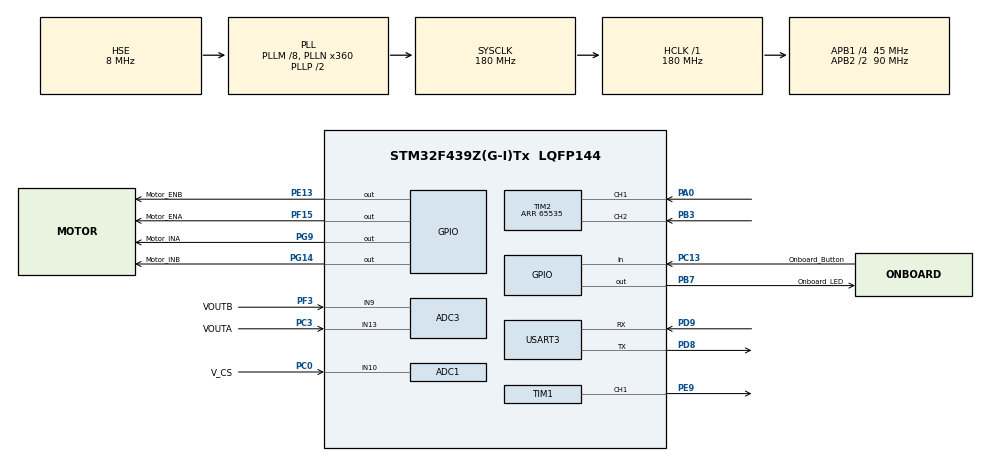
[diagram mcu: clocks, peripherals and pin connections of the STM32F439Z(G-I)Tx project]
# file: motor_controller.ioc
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ADC1.Channel-2\#ChannelRegularConversion=ADC_CHANNEL_10
ADC1.ContinuousConvMode=ENABLE
ADC1.DMAContinuousRequests=ENABLE
ADC1.ExternalTrigConv=ADC_EXTERNALTRIGCONV_T3_TRGO
ADC1.NbrOfConversion=1
ADC1.NbrOfConversionFlag=1
ADC1.Rank-2\#ChannelRegularConversion=1
ADC1.SamplingTime-2\#ChannelRegularConversion=ADC_SAMPLETIME_84CYCLES
ADC1.ScanConvMode=ENABLE
ADC1.master=1
ADC3.Channel-0\#ChannelRegularConversion=ADC_CHANNEL_13
ADC3.Channel-1\#ChannelRegularConversion=ADC_CHANNEL_9
ADC3.ContinuousConvMode=ENABLE
ADC3.DMAContinuousRequests=ENABLE
ADC3.ExternalTrigConv=ADC_EXTERNALTRIGCONV_T3_TRGO
ADC3.NbrOfConversion=2
ADC3.NbrOfConversionFlag=1
ADC3.Rank-0\#ChannelRegularConversion=1
ADC3.Rank-1\#ChannelRegularConversion=2
ADC3.SamplingTime-0\#ChannelRegularConversion=ADC_SAMPLETIME_84CYCLES
ADC3.SamplingTime-1\#ChannelRegularConversion=ADC_SAMPLETIME_84CYCLES
ADC3.ScanConvMode=ENABLE
Dma.ADC1.0.Direction=DMA_PERIPH_TO_MEMORY
Dma.ADC1.0.FIFOMode=DMA_FIFOMODE_DISABLE
Dma.ADC1.0.Instance=DMA2_Stream0
Dma.ADC1.0.MemDataAlignment=DMA_MDATAALIGN_WORD
Dma.ADC1.0.MemInc=DMA_MINC_ENABLE
Dma.ADC1.0.Mode=DMA_CIRCULAR
Dma.ADC1.0.PeriphDataAlignment=DMA_PDATAALIGN_WORD
Dma.ADC1.0.PeriphInc=DMA_PINC_DISABLE
Dma.ADC1.0.Priority=DMA_PRIORITY_LOW
Dma.ADC3.1.Direction=DMA_PERIPH_TO_MEMORY
Dma.ADC3.1.FIFOMode=DMA_FIFOMODE_DISABLE
Dma.ADC3.1.Instance=DMA2_Stream1
Dma.ADC3.1.MemDataAlignment=DMA_MDATAALIGN_WORD
Dma.ADC3.1.MemInc=DMA_MINC_ENABLE
Dma.ADC3.1.Mode=DMA_CIRCULAR
Dma.ADC3.1.PeriphDataAlignment=DMA_PDATAALIGN_WORD
Dma.ADC3.1.PeriphInc=DMA_PINC_DISABLE
Dma.ADC3.1.Priority=DMA_PRIORITY_LOW
Dma.Request0=ADC1
Dma.Request1=ADC3
Mcu.Family=STM32F4
Mcu.Name=STM32F439Z(G-I)Tx
Mcu.Package=LQFP144
NVIC.DMA2_Stream0_IRQn=true\:1\:0\:true\:false\:true\:false\:true\:true
NVIC.DMA2_Stream1_IRQn=true\:0\:0\:false\:false\:true\:false\:true\:true
NVIC.PriorityGroup=NVIC_PRIORITYGROUP_4
NVIC.TIM3_IRQn=true\:0\:0\:false\:false\:true\:true\:true\:true
PA0/WKUP.Signal=S_TIM2_CH1_ETR
PB3.Signal=S_TIM2_CH2
PB7.GPIO_Label=Onboard_LED
PB7.Signal=GPIO_Output
PC0.GPIO_Label=V_CS
PC0.Signal=ADCx_IN10
PC13.GPIO_Label=Onboard_Button
PC13.GPIO_PuPd=GPIO_NOPULL
PC13.Signal=GPIO_Input
PC3.GPIO_Label=VOUTA
PC3.Signal=ADCx_IN13
PD8.Mode=Asynchronous
PD8.Signal=USART3_TX
PD9.Mode=Asynchronous
PD9.Signal=USART3_RX
PE13.GPIO_Label=Motor_ENB
PE13.GPIO_ModeDefaultOutputPP=GPIO_MODE_OUTPUT_OD
PE13.GPIO_PuPd=GPIO_NOPULL
PE13.Signal=GPIO_Output
PE9.Signal=S_TIM1_CH1
PF15.GPIO_Label=Motor_ENA
PF15.GPIO_ModeDefaultOutputPP=GPIO_MODE_OUTPUT_OD
PF15.GPIO_PuPd=GPIO_NOPULL
PF15.Signal=GPIO_Output
PF3.GPIO_Label=VOUTB
PF3.Mode=IN9
PF3.Signal=ADC3_IN9
PG14.GPIO_Label=Motor_INB
PG14.Signal=GPIO_Output
PG9.GPIO_Label=Motor_INA
PG9.Signal=GPIO_Output
PH0/OSC_IN.Mode=HSE-External-Oscillator
PH0/OSC_IN.Signal=RCC_OSC_IN
PH1/OSC_OUT.Mode=HSE-External-Oscillator
PH1/OSC_OUT.Signal=RCC_OSC_OUT
ProjectManager.HeapSize=0x200
ProjectManager.StackSize=0x400
ProjectManager.TargetToolchain=CMake
RCC.48MHZClocksFreq_Value=90000000
RCC.AHBFreq_Value=180000000
RCC.APB1CLKDivider=RCC_HCLK_DIV4
RCC.APB1Freq_Value=45000000
RCC.APB1TimFreq_Value=90000000
RCC.APB2CLKDivider=RCC_HCLK_DIV2
RCC.APB2Freq_Value=90000000
RCC.APB2TimFreq_Value=180000000
RCC.CortexFreq_Value=180000000
RCC.HCLKFreq_Value=180000000
RCC.HSE_VALUE=8000000
RCC.HSI_VALUE=16000000
RCC.LSE_VALUE=32768
RCC.PLLM=8
RCC.PLLN=360
RCC.PLLSourceVirtual=RCC_PLLSOURCE_HSE
RCC.SYSCLKFreq_VALUE=180000000
RCC.SYSCLKSource=RCC_SYSCLKSOURCE_PLLCLK
RCC.VCOOutputFreq_Value=360000000
SH.ADCx_IN10.0=ADC1_IN10,IN10
SH.ADCx_IN13.0=ADC3_IN13,IN13
SH.S_TIM1_CH1.0=TIM1_CH1,PWM Generation1 CH1
SH.S_TIM2_CH1_ETR.0=TIM2_CH1,Encoder_Interface
SH.S_TIM2_CH2.0=TIM2_CH2,Encoder_Interface
TIM1.Channel-PWM\ Generation1\ CH1=TIM_CHANNEL_1
TIM1.Period=999
TIM1.Prescaler=8
TIM2.EncoderMode=TIM_ENCODERMODE_TI12
TIM2.Period=65535
TIM3.Period=49
TIM3.Prescaler=179
TIM3.TIM_MasterOutputTrigger=TIM_TRGO_UPDATE
USART3.VirtualMode=VM_ASYNC
VP_TIM3_VS_ClockSourceINT.Mode=Internal
board=custom

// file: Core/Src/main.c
/* USER CODE BEGIN Header */
/**
 ******************************************************************************
 * @file           : main.c
 * @brief          : Main program body
 ******************************************************************************
 * @attention
 *
 * Copyright (c) 2025 STMicroelectronics.
 * All rights reserved.
 *
 * This software is licensed under terms that can be found in the LICENSE file
 * in the root directory of this software component.
 * If no LICENSE file comes with this software, it is provided AS-IS.
 *
 ******************************************************************************
 */
/* USER CODE END Header */
#include "main.h"

/* USER CODE BEGIN Includes */
#include <stdbool.h>
#include <stdint.h>
#include <stdio.h>
#include <string.h>
#include <math.h>
#include "controller.h"
/* USER CODE END Includes */

/* USER CODE BEGIN PTD */

#define ADC1_CHANNELS 1
#define ADC3_CHANNELS 2
#define SAMPLE_COUNT 5000 // How many samples to collect

typedef struct
{
    uint32_t sample_idx;  // Sample index into logger arrays
    uint32_t loop_count;  // How many times we've actually sampled at 10 kHz
    uint16_t sample_rate; // loop_counts per sample_idx
    uint16_t pwm_duty[SAMPLE_COUNT];
    int32_t v_motor_mv[SAMPLE_COUNT];
    uint16_t i_motor_ma[SAMPLE_COUNT];
    int32_t pos_mdeg[SAMPLE_COUNT];
} log_data_t;

typedef union
{
    uint32_t buffer[ADC1_CHANNELS];
    struct
    {
        uint32_t cs_raw;
    } channels;
} adc1_data_t;

typedef union
{
    uint32_t buffer[ADC3_CHANNELS];
    struct
    {
        uint32_t vout_a_raw;
        uint32_t vout_b_raw;
    } channels;
} adc3_data_t;

typedef struct
{
    int32_t cur_count;  // Current encoder position count
    int32_t prev_count; // Temporary value used to calculate updates
    float pos_deg;      // Integrated position [deg]
} enc_data_t;

/* USER CODE END PTD */

/* USER CODE BEGIN PD */

#define VCC 3.3f // Logic voltage

#define PWM_COUNT 1000
#define ENC_COUNT 65536

#define ADC_TO_VOLTS (VCC / 4095.0f)           // Convert ADC counts to voltage
#define CS_V_PER_AMP (0.14f)                   // VNH5019 spec: 0.14 V/A
#define CS_SCALE (ADC_TO_VOLTS / CS_V_PER_AMP) // ADC counts to amperage

#define ENC_CPR        48      // Counts per motor revolution (datasheet)
#define GEAR_RATIO     46.8512f      // 47:1 gearbox
#define RAD_PER_COUNT  (2.0f * M_PI / (ENC_CPR * GEAR_RATIO))
#define RAD_TO_DEG     (180.0f / M_PI)
#define DEG_PER_COUNT  (360.0f / (ENC_CPR * GEAR_RATIO))  // DEBUG: Shouldn't need this

#define VOUT_R1 (47.0f) // First leg of voltage divider
#define VOUT_R2 (15.0f) // Second leg of voltage divider
#define VOUT_SCALE (ADC_TO_VOLTS * (VOUT_R1 + VOUT_R2) / VOUT_R2)

/* USER CODE END PD */

ADC_HandleTypeDef hadc1;
ADC_HandleTypeDef hadc3;
DMA_HandleTypeDef hdma_adc1;
DMA_HandleTypeDef hdma_adc3;

TIM_HandleTypeDef htim1;
TIM_HandleTypeDef htim2;
TIM_HandleTypeDef htim3;

UART_HandleTypeDef huart3;

/* USER CODE BEGIN PV */
volatile bool sample_flag = false;
volatile adc1_data_t adc1_data;
volatile adc3_data_t adc3_data;

uint16_t pwm_duty = 0;
enc_data_t enc_data = {ENC_COUNT / 2, ENC_COUNT / 2, 0.0f};

// Data structures for controller
controller_arg_t ctrl_arg;  // Inputs
controller_res_t ctrl_res;  // Outputs
controller_work_t ctrl_work; // Workspace

// Data collection
log_data_t log_data = {0};

// Profiling
uint32_t loop_cycles = 0;

/* USER CODE END PV */

void SystemClock_Config(void);
static void MX_GPIO_Init(void);
static void MX_DMA_Init(void);
static void MX_ADC1_Init(void);
static void MX_TIM3_Init(void);
static void MX_USART3_UART_Init(void);
static void MX_TIM1_Init(void);
static void MX_TIM2_Init(void);
static void MX_ADC3_Init(void);

int main(void)
{

  /* MCU Configuration--------------------------------------------------------*/

  /* Reset of all peripherals, Initializes the Flash interface and the Systick. */
  HAL_Init();

  /* Configure the system clock */
  SystemClock_Config();

  /* Initialize all configured peripherals */
  MX_GPIO_Init();
  MX_DMA_Init();
  MX_ADC1_Init();
  MX_TIM3_Init();
  MX_USART3_UART_Init();
  MX_TIM1_Init();
  MX_TIM2_Init();
  MX_ADC3_Init();
  /* USER CODE BEGIN 2 */

    // Enable DWT cycle counter for profiling
    CoreDebug->DEMCR |= CoreDebug_DEMCR_TRCENA_Msk;
    DWT->CYCCNT = 0;                     // Reset counter
    DWT->CTRL |= DWT_CTRL_CYCCNTENA_Msk; // Enable counter

    // Set up controller data structures
    controller_init(&ctrl_arg, &ctrl_res, &ctrl_work);

    // Start PWM output
    if (HAL_TIM_PWM_Start(&htim1, TIM_CHANNEL_1) != HAL_OK)
        Error_Handler();

    // Start ADC with DMA in circular mode
    if (HAL_ADC_Start_DMA(&hadc1, (uint32_t *)adc1_data.buffer, ADC1_CHANNELS) != HAL_OK)
        Error_Handler();
    if (HAL_ADC_Start_DMA(&hadc3, (uint32_t *)adc3_data.buffer, ADC3_CHANNELS) != HAL_OK)
        Error_Handler();

    // Enable motor driver
    HAL_GPIO_WritePin(Motor_ENA_GPIO_Port, Motor_ENA_Pin, GPIO_PIN_SET); // ENA/DIAGA = HIGH (enable)
    HAL_GPIO_WritePin(Motor_ENB_GPIO_Port, Motor_ENB_Pin, GPIO_PIN_SET); // ENB/DIAGB = HIGH (enable)

    // Start encoder timer
    if (HAL_TIM_Encoder_Start(&htim2, TIM_CHANNEL_ALL) != HAL_OK)
        Error_Handler();

    // Reset encoder counter to middle value
    __HAL_TIM_SET_COUNTER(&htim2, enc_data.cur_count);

    // Start control timer
    if (HAL_TIM_Base_Start_IT(&htim3) != HAL_OK)
        Error_Handler();

  /* USER CODE END 2 */

  /* Infinite loop */
  /* USER CODE BEGIN WHILE */

    HAL_GPIO_WritePin(Onboard_LED_GPIO_Port, Onboard_LED_Pin, GPIO_PIN_SET);
    HAL_Delay(1000); // Wait 1 sec for everything to come online
    HAL_GPIO_WritePin(Onboard_LED_GPIO_Port, Onboard_LED_Pin, GPIO_PIN_RESET);

    // Wait for the USER button to be pressed
    while (1)
    {
        if (HAL_GPIO_ReadPin(Onboard_Button_GPIO_Port, Onboard_Button_Pin))
            break; // Continue on to main control loop
        HAL_Delay(1);
    }
    // Turn on blue LED to indicate start of test
    HAL_GPIO_WritePin(Onboard_LED_GPIO_Port, Onboard_LED_Pin, GPIO_PIN_SET);

    // Reset indices
    log_data.sample_idx = 0;
    log_data.sample_rate = 1;
    log_data.loop_count = 0;
    sample_flag = false;
    pwm_duty = 0;
    motor_set();

    while (1)
    {
        if (log_data.sample_idx >= SAMPLE_COUNT)
            break;
    /* USER CODE END WHILE */

    /* USER CODE BEGIN 3 */

        // Pulse train test sequence
        ctrl_arg.pos_ref = (log_data.sample_idx < SAMPLE_COUNT / 2) ? 1.0 : 0.0;

        if (sample_flag)
        {
            uint32_t start_cycles = DWT->CYCCNT; // Start cycle counter
            sample_callback();

            uint32_t end_cycles = DWT->CYCCNT;          // End cycle counter
            loop_cycles += (end_cycles - start_cycles); // Count cycles
        }
    }

    pwm_duty = 0; // Turn OFF motor
    motor_set();
    send_data();
    HAL_GPIO_WritePin(Onboard_LED_GPIO_Port, Onboard_LED_Pin, GPIO_PIN_RESET);

    return 0;

  /* USER CODE END 3 */
}

void SystemClock_Config(void)
{
  RCC_OscInitTypeDef RCC_OscInitStruct = {0};
  RCC_ClkInitTypeDef RCC_ClkInitStruct = {0};

  /** Configure the main internal regulator output voltage
  */
  __HAL_RCC_PWR_CLK_ENABLE();
  __HAL_PWR_VOLTAGESCALING_CONFIG(PWR_REGULATOR_VOLTAGE_SCALE1);

  /** Initializes the RCC Oscillators according to the specified parameters
  * in the RCC_OscInitTypeDef structure.
  */
  RCC_OscInitStruct.OscillatorType = RCC_OSCILLATORTYPE_HSE;
  RCC_OscInitStruct.HSEState = RCC_HSE_ON;
  RCC_OscInitStruct.PLL.PLLState = RCC_PLL_ON;
  RCC_OscInitStruct.PLL.PLLSource = RCC_PLLSOURCE_HSE;
  RCC_OscInitStruct.PLL.PLLM = 8;
  RCC_OscInitStruct.PLL.PLLN = 360;
  RCC_OscInitStruct.PLL.PLLP = RCC_PLLP_DIV2;
  RCC_OscInitStruct.PLL.PLLQ = 4;
  if (HAL_RCC_OscConfig(&RCC_OscInitStruct) != HAL_OK)
  {
    Error_Handler();
  }

  /** Activate the Over-Drive mode
  */
  if (HAL_PWREx_EnableOverDrive() != HAL_OK)
  {
    Error_Handler();
  }

  /** Initializes the CPU, AHB and APB buses clocks
  */
  RCC_ClkInitStruct.ClockType = RCC_CLOCKTYPE_HCLK|RCC_CLOCKTYPE_SYSCLK
                              |RCC_CLOCKTYPE_PCLK1|RCC_CLOCKTYPE_PCLK2;
  RCC_ClkInitStruct.SYSCLKSource = RCC_SYSCLKSOURCE_PLLCLK;
  RCC_ClkInitStruct.AHBCLKDivider = RCC_SYSCLK_DIV1;
  RCC_ClkInitStruct.APB1CLKDivider = RCC_HCLK_DIV4;
  RCC_ClkInitStruct.APB2CLKDivider = RCC_HCLK_DIV2;

  if (HAL_RCC_ClockConfig(&RCC_ClkInitStruct, FLASH_LATENCY_5) != HAL_OK)
  {
    Error_Handler();
  }
}

static void MX_ADC1_Init(void)
{

  ADC_ChannelConfTypeDef sConfig = {0};

  /** Configure the global features of the ADC (Clock, Resolution, Data Alignment and number of conversion)
  */
  hadc1.Instance = ADC1;
  hadc1.Init.ClockPrescaler = ADC_CLOCK_SYNC_PCLK_DIV4;
  hadc1.Init.Resolution = ADC_RESOLUTION_12B;
  hadc1.Init.ScanConvMode = ENABLE;
  hadc1.Init.ContinuousConvMode = ENABLE;
  hadc1.Init.DiscontinuousConvMode = DISABLE;
  hadc1.Init.ExternalTrigConvEdge = ADC_EXTERNALTRIGCONVEDGE_RISING;
  hadc1.Init.ExternalTrigConv = ADC_EXTERNALTRIGCONV_T3_TRGO;
  hadc1.Init.DataAlign = ADC_DATAALIGN_RIGHT;
  hadc1.Init.NbrOfConversion = 1;
  hadc1.Init.DMAContinuousRequests = ENABLE;
  hadc1.Init.EOCSelection = ADC_EOC_SINGLE_CONV;
  if (HAL_ADC_Init(&hadc1) != HAL_OK)
  {
    Error_Handler();
  }

  /** Configure for the selected ADC regular channel its corresponding rank in the sequencer and its sample time.
  */
  sConfig.Channel = ADC_CHANNEL_10;
  sConfig.Rank = 1;
  sConfig.SamplingTime = ADC_SAMPLETIME_84CYCLES;
  if (HAL_ADC_ConfigChannel(&hadc1, &sConfig) != HAL_OK)
  {
    Error_Handler();
  }

}

static void MX_ADC3_Init(void)
{

  ADC_ChannelConfTypeDef sConfig = {0};

  /** Configure the global features of the ADC (Clock, Resolution, Data Alignment and number of conversion)
  */
  hadc3.Instance = ADC3;
  hadc3.Init.ClockPrescaler = ADC_CLOCK_SYNC_PCLK_DIV4;
  hadc3.Init.Resolution = ADC_RESOLUTION_12B;
  hadc3.Init.ScanConvMode = ENABLE;
  hadc3.Init.ContinuousConvMode = ENABLE;
  hadc3.Init.DiscontinuousConvMode = DISABLE;
  hadc3.Init.ExternalTrigConvEdge = ADC_EXTERNALTRIGCONVEDGE_RISING;
  hadc3.Init.ExternalTrigConv = ADC_EXTERNALTRIGCONV_T3_TRGO;
  hadc3.Init.DataAlign = ADC_DATAALIGN_RIGHT;
  hadc3.Init.NbrOfConversion = 2;
  hadc3.Init.DMAContinuousRequests = ENABLE;
  hadc3.Init.EOCSelection = ADC_EOC_SINGLE_CONV;
  if (HAL_ADC_Init(&hadc3) != HAL_OK)
  {
    Error_Handler();
  }

  /** Configure for the selected ADC regular channel its corresponding rank in the sequencer and its sample time.
  */
  sConfig.Channel = ADC_CHANNEL_13;
  sConfig.Rank = 1;
  sConfig.SamplingTime = ADC_SAMPLETIME_84CYCLES;
  if (HAL_ADC_ConfigChannel(&hadc3, &sConfig) != HAL_OK)
  {
    Error_Handler();
  }

  /** Configure for the selected ADC regular channel its corresponding rank in the sequencer and its sample time.
  */
  sConfig.Channel = ADC_CHANNEL_9;
  sConfig.Rank = 2;
  if (HAL_ADC_ConfigChannel(&hadc3, &sConfig) != HAL_OK)
  {
    Error_Handler();
  }

}

static void MX_TIM1_Init(void)
{

  TIM_MasterConfigTypeDef sMasterConfig = {0};
  TIM_OC_InitTypeDef sConfigOC = {0};
  TIM_BreakDeadTimeConfigTypeDef sBreakDeadTimeConfig = {0};

  htim1.Instance = TIM1;
  htim1.Init.Prescaler = 8;
  htim1.Init.CounterMode = TIM_COUNTERMODE_UP;
  htim1.Init.Period = 999;
  htim1.Init.ClockDivision = TIM_CLOCKDIVISION_DIV1;
  htim1.Init.RepetitionCounter = 0;
  htim1.Init.AutoReloadPreload = TIM_AUTORELOAD_PRELOAD_DISABLE;
  if (HAL_TIM_PWM_Init(&htim1) != HAL_OK)
  {
    Error_Handler();
  }
  sMasterConfig.MasterOutputTrigger = TIM_TRGO_RESET;
  sMasterConfig.MasterSlaveMode = TIM_MASTERSLAVEMODE_DISABLE;
  if (HAL_TIMEx_MasterConfigSynchronization(&htim1, &sMasterConfig) != HAL_OK)
  {
    Error_Handler();
  }
  sConfigOC.OCMode = TIM_OCMODE_PWM1;
  sConfigOC.Pulse = 0;
  sConfigOC.OCPolarity = TIM_OCPOLARITY_HIGH;
  sConfigOC.OCNPolarity = TIM_OCNPOLARITY_HIGH;
  sConfigOC.OCFastMode = TIM_OCFAST_DISABLE;
  sConfigOC.OCIdleState = TIM_OCIDLESTATE_RESET;
  sConfigOC.OCNIdleState = TIM_OCNIDLESTATE_RESET;
  if (HAL_TIM_PWM_ConfigChannel(&htim1, &sConfigOC, TIM_CHANNEL_1) != HAL_OK)
  {
    Error_Handler();
  }
  sBreakDeadTimeConfig.OffStateRunMode = TIM_OSSR_DISABLE;
  sBreakDeadTimeConfig.OffStateIDLEMode = TIM_OSSI_DISABLE;
  sBreakDeadTimeConfig.LockLevel = TIM_LOCKLEVEL_OFF;
  sBreakDeadTimeConfig.DeadTime = 0;
  sBreakDeadTimeConfig.BreakState = TIM_BREAK_DISABLE;
  sBreakDeadTimeConfig.BreakPolarity = TIM_BREAKPOLARITY_HIGH;
  sBreakDeadTimeConfig.AutomaticOutput = TIM_AUTOMATICOUTPUT_DISABLE;
  if (HAL_TIMEx_ConfigBreakDeadTime(&htim1, &sBreakDeadTimeConfig) != HAL_OK)
  {
    Error_Handler();
  }
  HAL_TIM_MspPostInit(&htim1);

}

static void MX_TIM2_Init(void)
{

  TIM_Encoder_InitTypeDef sConfig = {0};
  TIM_MasterConfigTypeDef sMasterConfig = {0};

  htim2.Instance = TIM2;
  htim2.Init.Prescaler = 0;
  htim2.Init.CounterMode = TIM_COUNTERMODE_UP;
  htim2.Init.Period = 65535;
  htim2.Init.ClockDivision = TIM_CLOCKDIVISION_DIV1;
  htim2.Init.AutoReloadPreload = TIM_AUTORELOAD_PRELOAD_DISABLE;
  sConfig.EncoderMode = TIM_ENCODERMODE_TI12;
  sConfig.IC1Polarity = TIM_ICPOLARITY_RISING;
  sConfig.IC1Selection = TIM_ICSELECTION_DIRECTTI;
  sConfig.IC1Prescaler = TIM_ICPSC_DIV1;
  sConfig.IC1Filter = 0;
  sConfig.IC2Polarity = TIM_ICPOLARITY_RISING;
  sConfig.IC2Selection = TIM_ICSELECTION_DIRECTTI;
  sConfig.IC2Prescaler = TIM_ICPSC_DIV1;
  sConfig.IC2Filter = 0;
  if (HAL_TIM_Encoder_Init(&htim2, &sConfig) != HAL_OK)
  {
    Error_Handler();
  }
  sMasterConfig.MasterOutputTrigger = TIM_TRGO_RESET;
  sMasterConfig.MasterSlaveMode = TIM_MASTERSLAVEMODE_DISABLE;
  if (HAL_TIMEx_MasterConfigSynchronization(&htim2, &sMasterConfig) != HAL_OK)
  {
    Error_Handler();
  }

}

static void MX_TIM3_Init(void)
{

  TIM_ClockConfigTypeDef sClockSourceConfig = {0};
  TIM_MasterConfigTypeDef sMasterConfig = {0};

  htim3.Instance = TIM3;
  htim3.Init.Prescaler = 179;
  htim3.Init.CounterMode = TIM_COUNTERMODE_UP;
  htim3.Init.Period = 49;
  htim3.Init.ClockDivision = TIM_CLOCKDIVISION_DIV1;
  htim3.Init.AutoReloadPreload = TIM_AUTORELOAD_PRELOAD_DISABLE;
  if (HAL_TIM_Base_Init(&htim3) != HAL_OK)
  {
    Error_Handler();
  }
  sClockSourceConfig.ClockSource = TIM_CLOCKSOURCE_INTERNAL;
  if (HAL_TIM_ConfigClockSource(&htim3, &sClockSourceConfig) != HAL_OK)
  {
    Error_Handler();
  }
  sMasterConfig.MasterOutputTrigger = TIM_TRGO_UPDATE;
  sMasterConfig.MasterSlaveMode = TIM_MASTERSLAVEMODE_DISABLE;
  if (HAL_TIMEx_MasterConfigSynchronization(&htim3, &sMasterConfig) != HAL_OK)
  {
    Error_Handler();
  }

}

static void MX_USART3_UART_Init(void)
{

  huart3.Instance = USART3;
  huart3.Init.BaudRate = 115200;
  huart3.Init.WordLength = UART_WORDLENGTH_8B;
  huart3.Init.StopBits = UART_STOPBITS_1;
  huart3.Init.Parity = UART_PARITY_NONE;
  huart3.Init.Mode = UART_MODE_TX_RX;
  huart3.Init.HwFlowCtl = UART_HWCONTROL_NONE;
  huart3.Init.OverSampling = UART_OVERSAMPLING_16;
  if (HAL_UART_Init(&huart3) != HAL_OK)
  {
    Error_Handler();
  }

}

static void MX_DMA_Init(void)
{

  /* DMA controller clock enable */
  __HAL_RCC_DMA2_CLK_ENABLE();

  /* DMA interrupt init */
  /* DMA2_Stream0_IRQn interrupt configuration */
  HAL_NVIC_SetPriority(DMA2_Stream0_IRQn, 1, 0);
  HAL_NVIC_EnableIRQ(DMA2_Stream0_IRQn);
  /* DMA2_Stream1_IRQn interrupt configuration */
  HAL_NVIC_SetPriority(DMA2_Stream1_IRQn, 0, 0);
  HAL_NVIC_EnableIRQ(DMA2_Stream1_IRQn);

}

static void MX_GPIO_Init(void)
{
  GPIO_InitTypeDef GPIO_InitStruct = {0};

  /* GPIO Ports Clock Enable */
  __HAL_RCC_GPIOC_CLK_ENABLE();
  __HAL_RCC_GPIOF_CLK_ENABLE();
  __HAL_RCC_GPIOH_CLK_ENABLE();
  __HAL_RCC_GPIOA_CLK_ENABLE();
  __HAL_RCC_GPIOE_CLK_ENABLE();
  __HAL_RCC_GPIOD_CLK_ENABLE();
  __HAL_RCC_GPIOG_CLK_ENABLE();
  __HAL_RCC_GPIOB_CLK_ENABLE();

  /*Configure GPIO pin Output Level */
  HAL_GPIO_WritePin(Motor_ENA_GPIO_Port, Motor_ENA_Pin, GPIO_PIN_RESET);

  /*Configure GPIO pin Output Level */
  HAL_GPIO_WritePin(Motor_ENB_GPIO_Port, Motor_ENB_Pin, GPIO_PIN_RESET);

  /*Configure GPIO pin Output Level */
  HAL_GPIO_WritePin(GPIOG, Motor_INA_Pin|Motor_INB_Pin, GPIO_PIN_RESET);

  /*Configure GPIO pin Output Level */
  HAL_GPIO_WritePin(Onboard_LED_GPIO_Port, Onboard_LED_Pin, GPIO_PIN_RESET);

  /*Configure GPIO pin : Onboard_Button_Pin */
  GPIO_InitStruct.Pin = Onboard_Button_Pin;
  GPIO_InitStruct.Mode = GPIO_MODE_INPUT;
  GPIO_InitStruct.Pull = GPIO_NOPULL;
  HAL_GPIO_Init(Onboard_Button_GPIO_Port, &GPIO_InitStruct);

  /*Configure GPIO pin : Motor_ENA_Pin */
  GPIO_InitStruct.Pin = Motor_ENA_Pin;
  GPIO_InitStruct.Mode = GPIO_MODE_OUTPUT_OD;
  GPIO_InitStruct.Pull = GPIO_NOPULL;
  GPIO_InitStruct.Speed = GPIO_SPEED_FREQ_LOW;
  HAL_GPIO_Init(Motor_ENA_GPIO_Port, &GPIO_InitStruct);

  /*Configure GPIO pin : Motor_ENB_Pin */
  GPIO_InitStruct.Pin = Motor_ENB_Pin;
  GPIO_InitStruct.Mode = GPIO_MODE_OUTPUT_OD;
  GPIO_InitStruct.Pull = GPIO_NOPULL;
  GPIO_InitStruct.Speed = GPIO_SPEED_FREQ_LOW;
  HAL_GPIO_Init(Motor_ENB_GPIO_Port, &GPIO_InitStruct);

  /*Configure GPIO pins : Motor_INA_Pin Motor_INB_Pin */
  GPIO_InitStruct.Pin = Motor_INA_Pin|Motor_INB_Pin;
  GPIO_InitStruct.Mode = GPIO_MODE_OUTPUT_PP;
  GPIO_InitStruct.Pull = GPIO_NOPULL;
  GPIO_InitStruct.Speed = GPIO_SPEED_FREQ_LOW;
  HAL_GPIO_Init(GPIOG, &GPIO_InitStruct);

  /*Configure GPIO pin : Onboard_LED_Pin */
  GPIO_InitStruct.Pin = Onboard_LED_Pin;
  GPIO_InitStruct.Mode = GPIO_MODE_OUTPUT_PP;
  GPIO_InitStruct.Pull = GPIO_NOPULL;
  GPIO_InitStruct.Speed = GPIO_SPEED_FREQ_LOW;
  HAL_GPIO_Init(Onboard_LED_GPIO_Port, &GPIO_InitStruct);

}

/* USER CODE BEGIN 4 */
void HAL_TIM_PeriodElapsedCallback(TIM_HandleTypeDef *htim)
{
    if (htim->Instance == TIM3)
    {
        sample_flag = true;
    }
}

void motor_set(void)
{
    __HAL_TIM_SET_COMPARE(&htim1, TIM_CHANNEL_1, pwm_duty);
}

/*
Reference:
|--INA--|--INB--|--STATE--|
|  LOW  | HIGH  | FORWARD | (CCW)
| HIGH  | HIGH  |  BRAKE  |
|  LOW  |  LOW  |  COAST  |
| HIGH  |  LOW  | REVERSE | (CW)
*/
void motor_rev(void)
{
    // Set motor direction forward (cw)
    HAL_GPIO_WritePin(Motor_INA_GPIO_Port, Motor_INA_Pin, GPIO_PIN_SET);   // INA = HIGH
    HAL_GPIO_WritePin(Motor_INB_GPIO_Port, Motor_INB_Pin, GPIO_PIN_RESET); // INB = LOW
}

void motor_fwd(void)
{
    // Set motor direction reverse (ccw)
    HAL_GPIO_WritePin(Motor_INA_GPIO_Port, Motor_INA_Pin, GPIO_PIN_RESET); // INA = LOW
    HAL_GPIO_WritePin(Motor_INB_GPIO_Port, Motor_INB_Pin, GPIO_PIN_SET);   // INB = HIGH
}

void sample_callback(void)
{
    /* INPUTS */

    // Read encoder and update position
    enc_data.cur_count = (int32_t)__HAL_TIM_GET_COUNTER(&htim2);

    // Handle encoder counter overflow/underflow by calculating the shortest path
    // Note this is different from wrapping the angle - this is for handling the
    // over/underflow in the encoder counter itself to determine the delta from
    // the previous count.
    int32_t delta = enc_data.cur_count - enc_data.prev_count;
    if (delta > (ENC_COUNT / 2)) {
        delta -= ENC_COUNT;  // Wrapped backwards
    } else if (delta < -(ENC_COUNT / 2)) {
        delta += ENC_COUNT;  // Wrapped forwards
    }

    enc_data.pos_deg += (float)delta * DEG_PER_COUNT;

    // If the controller can handle unwrapping the angle, we could wrap to [0, 360]
    // Otherwise leave as is for continuous rotation
    // enc_data.pos_deg = fmodf(enc_data.pos_deg + 360.0f, 360.0f);

    // Store for next iteration
    enc_data.prev_count = enc_data.cur_count;

    // Update inputs to the controller loop
    ctrl_arg.pos = enc_data.pos_deg / RAD_TO_DEG;

    /* CONTROLLER LOGIC */
    controller_step(&ctrl_arg, &ctrl_res, &ctrl_work);

    // Copy state from output struct back to inputs for next step
    ctrl_arg.state = ctrl_res.state_new;

    /* OUTPUTS */
    // Update PWM duty cycle
    pwm_duty = (uint16_t)(PWM_COUNT * ctrl_res.pwm_duty);
    motor_set();

    // Set motor driver logic for direction
    HAL_GPIO_WritePin(Motor_INA_GPIO_Port, Motor_INA_Pin, (uint16_t)ctrl_res.INA);
    HAL_GPIO_WritePin(Motor_INB_GPIO_Port, Motor_INB_Pin, (uint16_t)ctrl_res.INB);

    /* DATA ACQUISITION */
    if ((log_data.loop_count % log_data.sample_rate == 0) && (log_data.sample_idx < SAMPLE_COUNT))
    {
        log_data.pwm_duty[log_data.sample_idx] = pwm_duty;
        log_data.v_motor_mv[log_data.sample_idx] = (int32_t)(((float)adc3_data.channels.vout_a_raw - (float)adc3_data.channels.vout_b_raw) * VOUT_SCALE * 1000); // millivolts
        log_data.v_motor_mv[log_data.sample_idx] = (int32_t)(((float)adc3_data.channels.vout_a_raw) * VOUT_SCALE * 1000); // millivolts
        log_data.i_motor_ma[log_data.sample_idx] = (uint16_t)(adc1_data.channels.cs_raw * CS_SCALE * 1000);                                                          // milliamps
        log_data.pos_mdeg[log_data.sample_idx] = (int32_t)(enc_data.pos_deg * 1000);                                                                                 // millidegrees
        log_data.sample_idx++;
    }

    log_data.loop_count++;
    sample_flag = false;
}

void send_data(void)
{
    char header[100];
    char buffer[200];

    snprintf(header, sizeof(header), "START,%lu,%u,%u,%lu\n",
             (uint32_t)SAMPLE_COUNT, PWM_COUNT, log_data.sample_rate, loop_cycles / SAMPLE_COUNT);
    HAL_UART_Transmit(&huart3, (uint8_t *)header, strlen(header), HAL_MAX_DELAY);

    // Send data in chunks to avoid USB buffer overflow
    for (uint32_t i = 0; i < SAMPLE_COUNT; i++)
    {
        snprintf(buffer, sizeof(buffer), "%lu,%u,%ld,%u,%ld\n",
                 i, log_data.pwm_duty[i], log_data.v_motor_mv[i],
                 log_data.i_motor_ma[i], log_data.pos_mdeg[i]);
        HAL_UART_Transmit(&huart3, (uint8_t *)buffer, strlen(buffer), HAL_MAX_DELAY);

        // Small delay to prevent USB buffer overflow
        HAL_Delay(1);
    }

    HAL_UART_Transmit(&huart3, (uint8_t *)"END\n", 4, HAL_MAX_DELAY);
}

/* USER CODE END 4 */

void Error_Handler(void)
{
    __disable_irq();
    while (1)
    {
    }
}
